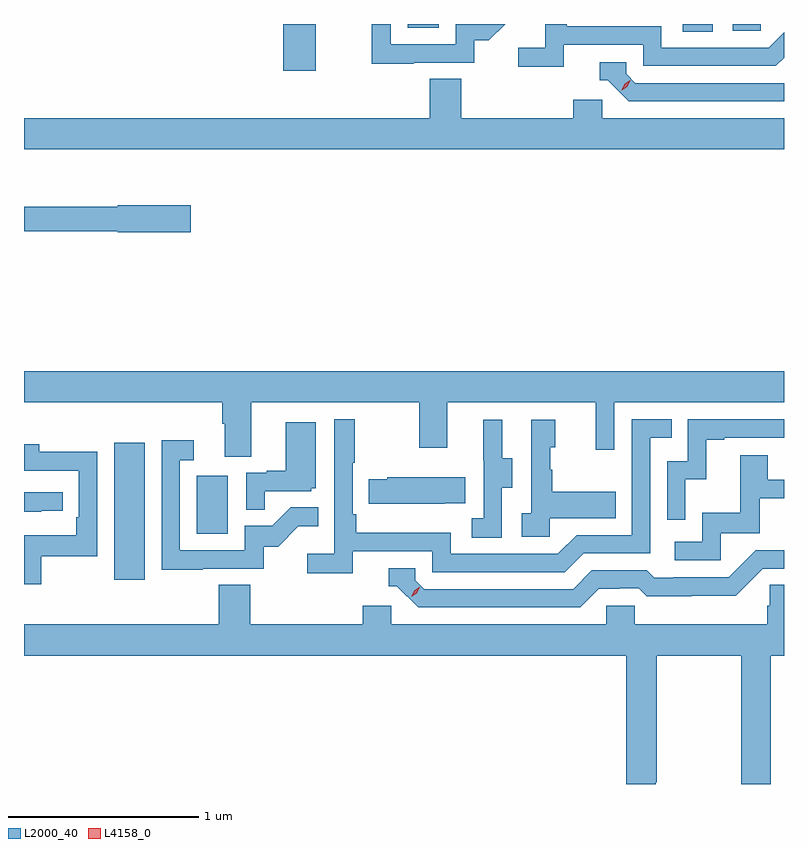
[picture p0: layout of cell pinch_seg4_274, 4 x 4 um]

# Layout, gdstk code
import gdstk
lib = gdstk.Library(unit=1e-6, precision=1e-09)
def R(c, l, rs):  # rectangles x0, y0, x1, y1
    for r in rs: c.add(gdstk.rectangle(r[:2], r[2:], *l))
def P(c, l, *ps):  # polygons
    for p in ps: c.add(gdstk.Polygon(p, *l))
L2000_40 = (2000, 40)
L4158_0 = (4158, 0)

pinch_seg4_274 = lib.new_cell('pinch_seg4_274')
R(pinch_seg4_274, L2000_40, [(938.333,823.86,938.494,824.581), (938.768,824.1,938.932,824.407), (939.224,826.539,939.394,826.784), (941.325,826.744,941.484,826.784), (941.589,826.749,941.736,826.784), (939.878,826.764,940.042,826.784)])
P(pinch_seg4_274, L2000_40, [(939.911,826.581),(940.23,826.581),(940.23,826.698),(940.306,826.698),(940.392,826.784),(940.131,826.784),(940.131,826.677),(939.789,826.677),(939.789,826.784),(939.688,826.784),(939.688,826.576),(939.911,826.576)],
  [(940.7,826.674),(941.118,826.674),(941.118,826.563),(941.815,826.563),(941.859,826.607),(941.859,826.74),(941.778,826.659),(941.214,826.659),(941.214,826.771),(940.715,826.771),(940.715,826.784),(940.602,826.784),(940.602,826.66),(940.461,826.66),(940.461,826.558),(940.7,826.558)],
  [(941.859,826.473),(941.076,826.473),(941.028,826.521),(941.028,826.584),(940.889,826.584),(940.889,826.488),(940.932,826.488),(941.043,826.377),(941.859,826.377)],
  [(941.859,826.288),(940.902,826.288),(940.902,826.386),(940.751,826.386),(940.751,826.288),(940.16,826.288),(940.16,826.496),(939.995,826.496),(939.995,826.288),(937.859,826.288),(937.859,826.124),(941.859,826.124)],
  [(938.737,825.831),(938.352,825.831),(938.352,825.823),(937.859,825.823),(937.859,825.694),(938.352,825.694),(938.352,825.689),(938.737,825.689)],
  [(939.055,824.792),(939.94,824.792),(939.94,824.553),(940.087,824.553),(940.087,824.792),(940.868,824.792),(940.868,824.544),(940.965,824.544),(940.965,824.792),(941.859,824.792),(941.859,824.956),(937.859,824.956),(937.859,824.792),(938.903,824.792),(938.903,824.68),(938.915,824.68),(938.915,824.506),(939.055,824.506)],
  [(939.59,824.01),(940.008,824.01),(940.008,823.899),(940.705,823.899),(940.804,823.998),(941.154,823.998),(941.154,824.607),(941.267,824.607),(941.267,824.703),(941.058,824.703),(941.058,824.094),(940.767,824.094),(940.668,823.995),(940.104,823.995),(940.104,824.107),(939.608,824.107),(939.608,824.203),(939.588,824.203),(939.588,824.476),(939.601,824.476),(939.601,824.704),(939.492,824.704),(939.492,823.996),(939.351,823.996),(939.351,823.894),(939.59,823.894)],
  [(941.34,824.387),(941.45,824.387),(941.45,824.595),(941.545,824.595),(941.545,824.607),(941.859,824.607),(941.859,824.703),(941.352,824.703),(941.352,824.484),(941.244,824.484),(941.244,824.175),(941.34,824.175)],
  [(940.374,824.344),(940.429,824.344),(940.429,824.499),(940.375,824.499),(940.375,824.701),(940.277,824.701),(940.277,824.487),(940.278,824.487),(940.278,824.183),(940.215,824.183),(940.215,824.08),(940.374,824.08)],
  [(940.626,824.183),(940.973,824.183),(940.973,824.323),(940.639,824.323),(940.639,824.438),(940.629,824.438),(940.629,824.556),(940.654,824.556),(940.654,824.701),(940.53,824.701),(940.53,824.21),(940.479,824.21),(940.479,824.085),(940.626,824.085)],
  [(939.125,824.325),(939.372,824.325),(939.372,824.34),(939.394,824.34),(939.394,824.689),(939.236,824.689),(939.236,824.434),(939.137,824.434),(939.137,824.421),(939.03,824.421),(939.03,824.227),(939.125,824.227)],
  [(938.801,823.917),(939.12,823.917),(939.12,824.034),(939.196,824.034),(939.303,824.141),(939.407,824.141),(939.407,824.24),(939.263,824.24),(939.165,824.142),(939.021,824.142),(939.021,824.013),(938.679,824.013),(938.679,824.487),(938.752,824.487),(938.752,824.593),(938.583,824.593),(938.583,823.912),(938.801,823.912)],
  [(937.951,823.983),(938.244,823.983),(938.244,824.534),(937.939,824.534),(937.939,824.572),(937.859,824.572),(937.859,824.433),(938.148,824.433),(938.148,824.188),(938.135,824.188),(938.135,824.092),(937.859,824.092),(937.859,823.836),(937.951,823.836)],
  [(941.526,824.103),(941.731,824.103),(941.731,824.289),(941.859,824.289),(941.859,824.385),(941.773,824.385),(941.773,824.515),(941.629,824.515),(941.629,824.212),(941.43,824.212),(941.43,824.058),(941.283,824.058),(941.283,823.962),(941.526,823.962)],
  [(940.073,824.261),(940.181,824.261),(940.181,824.398),(939.771,824.398),(939.771,824.388),(939.673,824.388),(939.673,824.258),(940.073,824.258)],
  [(937.949,824.223),(938.062,824.223),(938.062,824.319),(937.859,824.319),(937.859,824.218),(937.949,824.218)],
  [(940.885,823.812),(940.992,823.812),(940.992,823.815),(941.095,823.815),(941.137,823.773),(941.37,823.773),(941.37,823.775),(941.606,823.775),(941.748,823.917),(941.859,823.917),(941.859,824.013),(941.709,824.013),(941.568,823.872),(941.275,823.872),(941.275,823.869),(941.176,823.869),(941.137,823.908),(940.848,823.908),(940.749,823.809),(939.966,823.809),(939.918,823.857),(939.918,823.92),(939.779,823.92),(939.779,823.824),(939.822,823.824),(939.933,823.713),(940.786,823.713)],
  [(941.185,822.793),(941.19,822.793),(941.19,823.46),(941.635,823.46),(941.635,822.784),(941.79,822.784),(941.79,823.46),(941.859,823.46),(941.859,823.832),(941.785,823.832),(941.785,823.722),(941.771,823.722),(941.771,823.624),(941.073,823.624),(941.073,823.722),(940.923,823.722),(940.923,823.624),(939.792,823.624),(939.792,823.722),(939.641,823.722),(939.641,823.624),(939.05,823.624),(939.05,823.832),(938.885,823.832),(938.885,823.624),(937.859,823.624),(937.859,823.46),(941.03,823.46),(941.03,822.784),(941.185,822.784)])
P(pinch_seg4_274, L4158_0, [(941.004,826.436),(941.004,826.436),(941.02,826.469),(941.05,826.488),(941.05,826.488),(941.05,826.488),(941.034,826.455),(941.004,826.436)],
  [(939.896,823.77),(939.896,823.77),(939.912,823.802),(939.943,823.822),(939.943,823.822),(939.943,823.822),(939.927,823.789),(939.897,823.77)])

lib.write_gds('pinch_seg4_274.gds')
